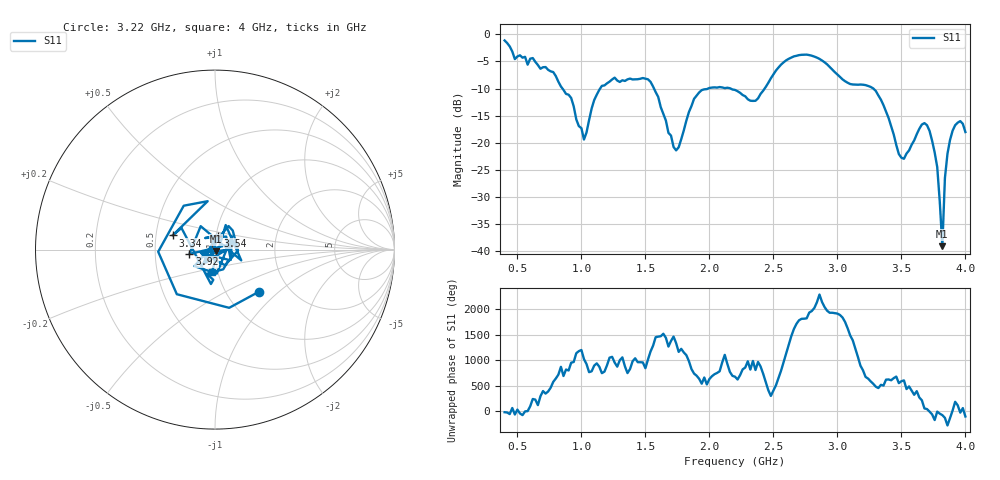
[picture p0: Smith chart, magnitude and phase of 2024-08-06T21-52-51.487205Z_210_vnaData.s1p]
!Created with skrf (http://scikit-rf.org).
# Hz S RI R 50.0
!freq ReS11 ImS11
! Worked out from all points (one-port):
!   181 points, 400 MHz to 4 GHz, reference 50 ohm
!   lowest |S11| = -39.1 dB at 3.82 GHz (marker M1), VSWR 1.02, Z = 50.3 - j1.06 ohm
!   |S11| at or under -10 dB: 851.8 MHz to 1.147 GHz (294.7 MHz wide, 29.5 % of centre); 1.567 GHz to 1.99 GHz (423.4 MHz wide, 23.8 % of centre); 3.281 GHz to end of sweep (the widest 3 of 4)
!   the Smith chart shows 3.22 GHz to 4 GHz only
!   S11 on the Smith chart (normalised r, x): 3.22 GHz: 1.42, -0.75; 3.34 GHz: 0.61, +0.10; 3.54 GHz: 1.02, +0.16; 3.92 GHz: 0.75, -0.04; 4 GHz: 0.94, -0.24
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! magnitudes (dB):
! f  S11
! 400 MHz  -1.1
! 860 MHz  -10.3
! 920 MHz  -11.7
! 1.02 GHz  -19.4
! 1.14 GHz  -10.2
! 1.3 GHz  -8.8
! 1.54 GHz  -8.8
! 1.72 GHz  -20.8
! 1.76 GHz  -20.9
! 1.92 GHz  -10.7
! 2.2 GHz  -10.3
! 2.36 GHz  -12.3
! 2.66 GHz  -4.1
! 2.84 GHz  -4.3
! 3.1 GHz  -9.2
! 3.22 GHz  -9.4
! 3.34 GHz  -12.1
! 3.48 GHz  -22.1
! 3.54 GHz  -22.0
! 3.56 GHz  -21.4
! 3.66 GHz  -16.7
! 3.72 GHz  -17.8
! 3.78 GHz  -24.5
! 3.82 GHz  -39.1
! 3.84 GHz  -26.5
! 3.86 GHz  -22.0
! 3.92 GHz  -16.8
! 4 GHz  -18.0
